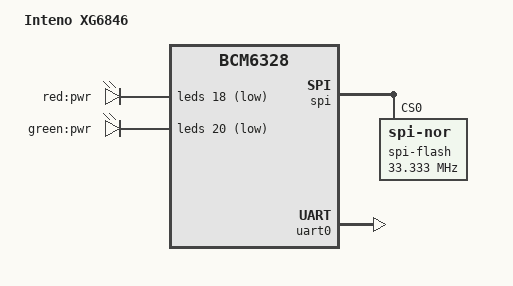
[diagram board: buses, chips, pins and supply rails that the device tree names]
// SPDX-License-Identifier: GPL-2.0+
/*
 * Copyright (C) 2023 Linus Walleij <linusw@kernel.org>
 *
 * This is a diet version of the device tree from Linux,
 * suitable for U-Boot.
 */

/dts-v1/;

#include "brcm,bcm6328.dtsi"

/ {
	model = "Inteno XG6846";
	compatible = "inteno,xg6846", "brcm,bcm6328";

	aliases {
		serial0 = &uart0;
	};

	chosen {
		stdout-path = "serial0:115200n8";
	};
};

&leds {
	status = "okay";

	led@18 {
		reg = <18>;
		active-low;
		label = "red:pwr";
	};

	led@20 {
		reg = <20>;
		active-low;
		label = "green:pwr";
	};
};

&spi {
	status = "okay";

	spi-flash@0 {
		compatible = "jedec,spi-nor";
		reg = <0>;
		#address-cells = <1>;
		#size-cells = <1>;
		spi-max-frequency = <33333334>;
	};
};

&uart0 {
	bootph-all;
	status = "okay";
};
